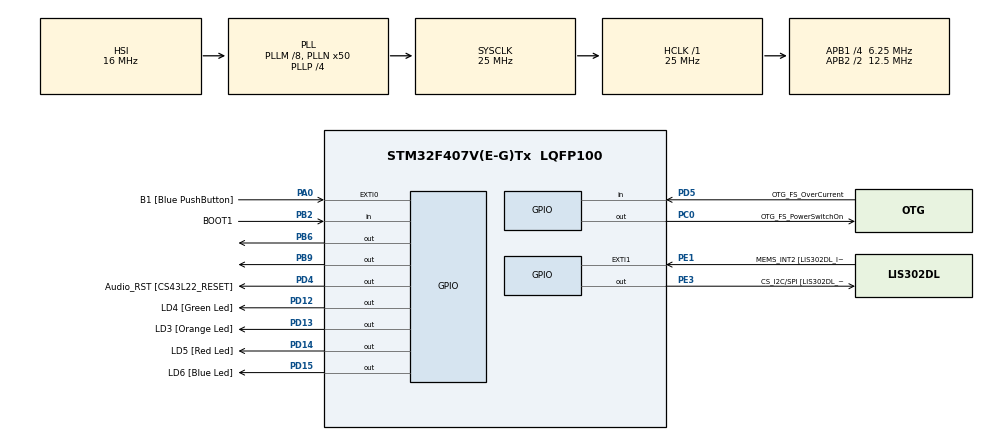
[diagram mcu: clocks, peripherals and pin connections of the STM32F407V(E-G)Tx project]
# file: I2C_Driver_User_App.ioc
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Mcu.Family=STM32F4
Mcu.Name=STM32F407V(E-G)Tx
Mcu.Package=LQFP100
NVIC.PriorityGroup=NVIC_PRIORITYGROUP_4
NVIC.TIM6_DAC_IRQn=true\:0\:0\:false\:false\:true\:false\:true\:true
NVIC.TimeBase=TIM6_DAC_IRQn
NVIC.TimeBaseIP=TIM6
PA0-WKUP.GPIO_Label=B1 [Blue PushButton]
PA0-WKUP.Signal=GPXTI0
PA10.GPIO_Label=OTG_FS_ID
PA10.GPIO_Mode=GPIO_MODE_AF_PP
PA10.GPIO_PuPd=GPIO_NOPULL
PA10.GPIO_Speed=GPIO_SPEED_FREQ_LOW
PA10.Signal=USB_OTG_FS_ID
PA11.GPIO_Label=OTG_FS_DM
PA11.GPIO_Mode=GPIO_MODE_AF_PP
PA11.GPIO_PuPd=GPIO_NOPULL
PA11.GPIO_Speed=GPIO_SPEED_FREQ_LOW
PA11.Signal=USB_OTG_FS_DM
PA12.GPIO_Label=OTG_FS_DP
PA12.GPIO_Mode=GPIO_MODE_AF_PP
PA12.GPIO_PuPd=GPIO_NOPULL
PA12.GPIO_Speed=GPIO_SPEED_FREQ_LOW
PA12.Signal=USB_OTG_FS_DP
PA13.GPIO_Label=SWDIO
PA13.Signal=SYS_JTMS-SWDIO
PA14.GPIO_Label=SWCLK
PA14.Signal=SYS_JTCK-SWCLK
PA4.GPIO_Label=I2S3_WS [CS43L22_LRCK]
PA4.GPIO_Mode=GPIO_MODE_AF_PP
PA4.GPIO_PuPd=GPIO_NOPULL
PA4.GPIO_Speed=GPIO_SPEED_FREQ_LOW
PA4.Signal=I2S3_WS
PA5.GPIO_Label=SPI1_SCK [LIS302DL_SCL/SPC]
PA5.GPIO_Mode=GPIO_MODE_AF_PP
PA5.GPIO_PuPd=GPIO_NOPULL
PA5.GPIO_Speed=GPIO_SPEED_FREQ_LOW
PA5.Signal=SPI1_SCK
PA6.GPIO_Label=SPI1_MISO [LIS302DL_SDO]
PA6.GPIO_Mode=GPIO_MODE_AF_PP
PA6.GPIO_PuPd=GPIO_NOPULL
PA6.GPIO_Speed=GPIO_SPEED_FREQ_LOW
PA6.Signal=SPI1_MISO
PA7.GPIO_Label=SPI1_MOSI [LIS302DL_SDA/SDI/SDO]
PA7.GPIO_Mode=GPIO_MODE_AF_PP
PA7.GPIO_PuPd=GPIO_NOPULL
PA7.GPIO_Speed=GPIO_SPEED_FREQ_LOW
PA7.Signal=SPI1_MOSI
PA9.GPIO_Label=VBUS_FS
PA9.GPIO_Mode=GPIO_MODE_INPUT
PA9.GPIO_PuPd=GPIO_NOPULL
PA9.Signal=USB_OTG_FS_VBUS
PB10.GPIO_Label=CLK_IN [MP45DT02_CLK]
PB10.GPIO_Mode=GPIO_MODE_AF_PP
PB10.GPIO_PuPd=GPIO_NOPULL
PB10.GPIO_Speed=GPIO_SPEED_FREQ_LOW
PB10.Signal=I2S2_CK
PB2.GPIO_Label=BOOT1
PB2.GPIO_Mode=GPIO_MODE_INPUT
PB2.GPIO_PuPd=GPIO_NOPULL
PB2.Signal=GPIO_Input
PB3.GPIO_Label=SWO
PB3.Signal=SYS_JTDO-SWO
PB6.Signal=GPIO_Output
PB9.Signal=GPIO_Output
PC0.GPIO_Label=OTG_FS_PowerSwitchOn
PC0.GPIO_PuPd=GPIO_NOPULL
PC0.GPIO_Speed=GPIO_SPEED_FREQ_LOW
PC0.PinState=GPIO_PIN_SET
PC0.Signal=GPIO_Output
PC10.GPIO_Label=I2S3_SCK [CS43L22_SCLK]
PC10.GPIO_Mode=GPIO_MODE_AF_PP
PC10.GPIO_PuPd=GPIO_NOPULL
PC10.GPIO_Speed=GPIO_SPEED_FREQ_LOW
PC10.Signal=I2S3_CK
PC12.GPIO_Label=I2S3_SD [CS43L22_SDIN]
PC12.GPIO_Mode=GPIO_MODE_AF_PP
PC12.GPIO_PuPd=GPIO_NOPULL
PC12.GPIO_Speed=GPIO_SPEED_FREQ_LOW
PC12.Signal=I2S3_SD
PC14-OSC32_IN.GPIO_Label=PC14-OSC32_IN
PC14-OSC32_IN.Signal=RCC_OSC32_IN
PC15-OSC32_OUT.GPIO_Label=PC15-OSC32_OUT
PC15-OSC32_OUT.Signal=RCC_OSC32_OUT
PC3.GPIO_Label=PDM_OUT [MP45DT02_DOUT]
PC3.GPIO_Mode=GPIO_MODE_AF_PP
PC3.GPIO_PuPd=GPIO_NOPULL
PC3.GPIO_Speed=GPIO_SPEED_FREQ_LOW
PC3.Signal=I2S2_SD
PC7.GPIO_Label=I2S3_MCK [CS43L22_MCLK]
PC7.GPIO_Mode=GPIO_MODE_AF_PP
PC7.GPIO_PuPd=GPIO_NOPULL
PC7.GPIO_Speed=GPIO_SPEED_FREQ_LOW
PC7.Signal=I2S3_MCK
PD12.GPIO_Label=LD4 [Green Led]
PD12.GPIO_PuPd=GPIO_NOPULL
PD12.GPIO_Speed=GPIO_SPEED_FREQ_LOW
PD12.Signal=GPIO_Output
PD13.GPIO_Label=LD3 [Orange Led]
PD13.GPIO_PuPd=GPIO_NOPULL
PD13.GPIO_Speed=GPIO_SPEED_FREQ_LOW
PD13.Signal=GPIO_Output
PD14.GPIO_Label=LD5 [Red Led]
PD14.GPIO_PuPd=GPIO_NOPULL
PD14.GPIO_Speed=GPIO_SPEED_FREQ_LOW
PD14.Signal=GPIO_Output
PD15.GPIO_Label=LD6 [Blue Led]
PD15.GPIO_PuPd=GPIO_NOPULL
PD15.GPIO_Speed=GPIO_SPEED_FREQ_LOW
PD15.Signal=GPIO_Output
PD4.GPIO_Label=Audio_RST [CS43L22_RESET]
PD4.GPIO_PuPd=GPIO_NOPULL
PD4.GPIO_Speed=GPIO_SPEED_FREQ_LOW
PD4.Signal=GPIO_Output
PD5.GPIO_Label=OTG_FS_OverCurrent
PD5.GPIO_Mode=GPIO_MODE_INPUT
PD5.GPIO_PuPd=GPIO_NOPULL
PD5.Signal=GPIO_Input
PE1.GPIO_Label=MEMS_INT2 [LIS302DL_INT2]
PE1.GPIO_ModeDefaultEXTI=GPIO_MODE_EVT_RISING
PE1.GPIO_PuPd=GPIO_NOPULL
PE1.Signal=GPXTI1
PE3.GPIO_Label=CS_I2C/SPI [LIS302DL_CS_I2C/SPI]
PE3.GPIO_PuPd=GPIO_NOPULL
PE3.GPIO_Speed=GPIO_SPEED_FREQ_LOW
PE3.Signal=GPIO_Output
PH0-OSC_IN.GPIO_Label=PH0-OSC_IN
PH0-OSC_IN.Signal=RCC_OSC_IN
PH1-OSC_OUT.GPIO_Label=PH1-OSC_OUT
PH1-OSC_OUT.Signal=RCC_OSC_OUT
ProjectManager.HeapSize=0x200
ProjectManager.StackSize=0x400
ProjectManager.TargetToolchain=STM32CubeIDE
RCC.48MHZClocksFreq_Value=14285714.285714285
RCC.AHBFreq_Value=25000000
RCC.APB1CLKDivider=RCC_HCLK_DIV4
RCC.APB1Freq_Value=6250000
RCC.APB1TimFreq_Value=12500000
RCC.APB2CLKDivider=RCC_HCLK_DIV2
RCC.APB2Freq_Value=12500000
RCC.APB2TimFreq_Value=25000000
RCC.CortexFreq_Value=25000000
RCC.HCLKFreq_Value=25000000
RCC.HSE_VALUE=8000000
RCC.HSI_VALUE=16000000
RCC.LSE_VALUE=32768
RCC.PLLM=8
RCC.PLLN=50
RCC.PLLP=RCC_PLLP_DIV4
RCC.PLLQ=7
RCC.SYSCLKFreq_VALUE=25000000
RCC.SYSCLKSource=RCC_SYSCLKSOURCE_PLLCLK
RCC.VCOOutputFreq_Value=100000000
VP_SYS_VS_tim6.Mode=TIM6
board=STM32F407G-DISC1

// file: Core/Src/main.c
/* USER CODE BEGIN Header */
/**
  ******************************************************************************
  * @file           : main.c
  * @brief          : Main program body
  ******************************************************************************
  * @attention
  *
  * Copyright (c) 2026 STMicroelectronics.
  * All rights reserved.
  *
  * This software is licensed under terms that can be found in the LICENSE file
  * in the root directory of this software component.
  * If no LICENSE file comes with this software, it is provided AS-IS.
  *
  ******************************************************************************
  */
/* USER CODE END Header */
#include "main.h"

/* USER CODE BEGIN Includes */
#include <stdio.h>
#include "FreeRTOS.h"
#include "task.h"
/* USER CODE END Includes */

void SystemClock_Config(void);
static void MX_GPIO_Init(void);
/* USER CODE BEGIN PFP */
static void I2CTask_handler(void *pdData);

static void I2CDelay(void);
static void vStartI2C();
static void vStopI2C();
static uint8_t WriteI2C(uint8_t byte);
static uint8_t ReadI2C1B(uint8_t ack);
static void SetI2CSDAGPIO();
static void ClearI2CSDAGPIO();
static void SetI2CSCLGPIO();
static void ClearI2CSCLGPIO();
static void ConfigI2CSDAGPIOOutput();
static void ConfigI2CSDAGPIOInput();
static void vStopI2C();

/* USER CODE END PFP */

int main(void)
{

  /* USER CODE BEGIN 1 */
	TaskHandle_t Task_Handle;
	BaseType_t status_i2c;

  /* USER CODE END 1 */

  /* MCU Configuration--------------------------------------------------------*/

  /* Reset of all peripherals, Initializes the Flash interface and the Systick. */
  HAL_Init();

  /* Configure the system clock */
  SystemClock_Config();

  /* Initialize all configured peripherals */
  MX_GPIO_Init();
  /* USER CODE BEGIN 2 */
  status_i2c = xTaskCreate(I2CTask_handler, "I2CTask", 200, NULL, 1, &Task_Handle);

  configASSERT(status_i2c  == pdPASS);

  vTaskStartScheduler();

  /* USER CODE END 2 */

  /* Infinite loop */
  while (1)
  {

  }
}

void SystemClock_Config(void)
{
  RCC_OscInitTypeDef RCC_OscInitStruct = {0};
  RCC_ClkInitTypeDef RCC_ClkInitStruct = {0};

  /** Configure the main internal regulator output voltage
  */
  __HAL_RCC_PWR_CLK_ENABLE();
  __HAL_PWR_VOLTAGESCALING_CONFIG(PWR_REGULATOR_VOLTAGE_SCALE1);

  /** Initializes the RCC Oscillators according to the specified parameters
  * in the RCC_OscInitTypeDef structure.
  */
  RCC_OscInitStruct.OscillatorType = RCC_OSCILLATORTYPE_HSI;
  RCC_OscInitStruct.HSIState = RCC_HSI_ON;
  RCC_OscInitStruct.HSICalibrationValue = RCC_HSICALIBRATION_DEFAULT;
  RCC_OscInitStruct.PLL.PLLState = RCC_PLL_ON;
  RCC_OscInitStruct.PLL.PLLSource = RCC_PLLSOURCE_HSI;
  RCC_OscInitStruct.PLL.PLLM = 8;
  RCC_OscInitStruct.PLL.PLLN = 50;
  RCC_OscInitStruct.PLL.PLLP = RCC_PLLP_DIV4;
  RCC_OscInitStruct.PLL.PLLQ = 7;
  if (HAL_RCC_OscConfig(&RCC_OscInitStruct) != HAL_OK)
  {
    Error_Handler();
  }

  /** Initializes the CPU, AHB and APB buses clocks
  */
  RCC_ClkInitStruct.ClockType = RCC_CLOCKTYPE_HCLK|RCC_CLOCKTYPE_SYSCLK
                              |RCC_CLOCKTYPE_PCLK1|RCC_CLOCKTYPE_PCLK2;
  RCC_ClkInitStruct.SYSCLKSource = RCC_SYSCLKSOURCE_PLLCLK;
  RCC_ClkInitStruct.AHBCLKDivider = RCC_SYSCLK_DIV1;
  RCC_ClkInitStruct.APB1CLKDivider = RCC_HCLK_DIV4;
  RCC_ClkInitStruct.APB2CLKDivider = RCC_HCLK_DIV2;

  if (HAL_RCC_ClockConfig(&RCC_ClkInitStruct, FLASH_LATENCY_0) != HAL_OK)
  {
    Error_Handler();
  }
}

static void MX_GPIO_Init(void)
{
  GPIO_InitTypeDef GPIO_InitStruct = {0};

  /* GPIO Ports Clock Enable */
  __HAL_RCC_GPIOE_CLK_ENABLE();
  __HAL_RCC_GPIOC_CLK_ENABLE();
  __HAL_RCC_GPIOH_CLK_ENABLE();
  __HAL_RCC_GPIOA_CLK_ENABLE();
  __HAL_RCC_GPIOB_CLK_ENABLE();
  __HAL_RCC_GPIOD_CLK_ENABLE();

  /*Configure GPIO pin Output Level */
  HAL_GPIO_WritePin(CS_I2C_SPI_GPIO_Port, CS_I2C_SPI_Pin, GPIO_PIN_RESET);

  /*Configure GPIO pin Output Level */
  HAL_GPIO_WritePin(OTG_FS_PowerSwitchOn_GPIO_Port, OTG_FS_PowerSwitchOn_Pin, GPIO_PIN_SET);

  /*Configure GPIO pin Output Level */
  HAL_GPIO_WritePin(GPIOD, LD4_Pin|LD3_Pin|LD5_Pin|LD6_Pin
                          |Audio_RST_Pin, GPIO_PIN_RESET);

  /*Configure GPIO pin Output Level */
  HAL_GPIO_WritePin(GPIOB, GPIO_PIN_6|GPIO_PIN_9, GPIO_PIN_RESET);

  /*Configure GPIO pin : CS_I2C_SPI_Pin */
  GPIO_InitStruct.Pin = CS_I2C_SPI_Pin;
  GPIO_InitStruct.Mode = GPIO_MODE_OUTPUT_PP;
  GPIO_InitStruct.Pull = GPIO_NOPULL;
  GPIO_InitStruct.Speed = GPIO_SPEED_FREQ_LOW;
  HAL_GPIO_Init(CS_I2C_SPI_GPIO_Port, &GPIO_InitStruct);

  /*Configure GPIO pin : OTG_FS_PowerSwitchOn_Pin */
  GPIO_InitStruct.Pin = OTG_FS_PowerSwitchOn_Pin;
  GPIO_InitStruct.Mode = GPIO_MODE_OUTPUT_PP;
  GPIO_InitStruct.Pull = GPIO_NOPULL;
  GPIO_InitStruct.Speed = GPIO_SPEED_FREQ_LOW;
  HAL_GPIO_Init(OTG_FS_PowerSwitchOn_GPIO_Port, &GPIO_InitStruct);

  /*Configure GPIO pin : PDM_OUT_Pin */
  GPIO_InitStruct.Pin = PDM_OUT_Pin;
  GPIO_InitStruct.Mode = GPIO_MODE_AF_PP;
  GPIO_InitStruct.Pull = GPIO_NOPULL;
  GPIO_InitStruct.Speed = GPIO_SPEED_FREQ_LOW;
  GPIO_InitStruct.Alternate = GPIO_AF5_SPI2;
  HAL_GPIO_Init(PDM_OUT_GPIO_Port, &GPIO_InitStruct);

  /*Configure GPIO pin : B1_Pin */
  GPIO_InitStruct.Pin = B1_Pin;
  GPIO_InitStruct.Mode = GPIO_MODE_IT_RISING;
  GPIO_InitStruct.Pull = GPIO_NOPULL;
  HAL_GPIO_Init(B1_GPIO_Port, &GPIO_InitStruct);

  /*Configure GPIO pin : I2S3_WS_Pin */
  GPIO_InitStruct.Pin = I2S3_WS_Pin;
  GPIO_InitStruct.Mode = GPIO_MODE_AF_PP;
  GPIO_InitStruct.Pull = GPIO_NOPULL;
  GPIO_InitStruct.Speed = GPIO_SPEED_FREQ_LOW;
  GPIO_InitStruct.Alternate = GPIO_AF6_SPI3;
  HAL_GPIO_Init(I2S3_WS_GPIO_Port, &GPIO_InitStruct);

  /*Configure GPIO pins : SPI1_SCK_Pin SPI1_MISO_Pin SPI1_MOSI_Pin */
  GPIO_InitStruct.Pin = SPI1_SCK_Pin|SPI1_MISO_Pin|SPI1_MOSI_Pin;
  GPIO_InitStruct.Mode = GPIO_MODE_AF_PP;
  GPIO_InitStruct.Pull = GPIO_NOPULL;
  GPIO_InitStruct.Speed = GPIO_SPEED_FREQ_LOW;
  GPIO_InitStruct.Alternate = GPIO_AF5_SPI1;
  HAL_GPIO_Init(GPIOA, &GPIO_InitStruct);

  /*Configure GPIO pin : BOOT1_Pin */
  GPIO_InitStruct.Pin = BOOT1_Pin;
  GPIO_InitStruct.Mode = GPIO_MODE_INPUT;
  GPIO_InitStruct.Pull = GPIO_NOPULL;
  HAL_GPIO_Init(BOOT1_GPIO_Port, &GPIO_InitStruct);

  /*Configure GPIO pin : CLK_IN_Pin */
  GPIO_InitStruct.Pin = CLK_IN_Pin;
  GPIO_InitStruct.Mode = GPIO_MODE_AF_PP;
  GPIO_InitStruct.Pull = GPIO_NOPULL;
  GPIO_InitStruct.Speed = GPIO_SPEED_FREQ_LOW;
  GPIO_InitStruct.Alternate = GPIO_AF5_SPI2;
  HAL_GPIO_Init(CLK_IN_GPIO_Port, &GPIO_InitStruct);

  /*Configure GPIO pins : LD4_Pin LD3_Pin LD5_Pin LD6_Pin
                           Audio_RST_Pin */
  GPIO_InitStruct.Pin = LD4_Pin|LD3_Pin|LD5_Pin|LD6_Pin
                          |Audio_RST_Pin;
  GPIO_InitStruct.Mode = GPIO_MODE_OUTPUT_PP;
  GPIO_InitStruct.Pull = GPIO_NOPULL;
  GPIO_InitStruct.Speed = GPIO_SPEED_FREQ_LOW;
  HAL_GPIO_Init(GPIOD, &GPIO_InitStruct);

  /*Configure GPIO pins : I2S3_MCK_Pin I2S3_SCK_Pin I2S3_SD_Pin */
  GPIO_InitStruct.Pin = I2S3_MCK_Pin|I2S3_SCK_Pin|I2S3_SD_Pin;
  GPIO_InitStruct.Mode = GPIO_MODE_AF_PP;
  GPIO_InitStruct.Pull = GPIO_NOPULL;
  GPIO_InitStruct.Speed = GPIO_SPEED_FREQ_LOW;
  GPIO_InitStruct.Alternate = GPIO_AF6_SPI3;
  HAL_GPIO_Init(GPIOC, &GPIO_InitStruct);

  /*Configure GPIO pin : VBUS_FS_Pin */
  GPIO_InitStruct.Pin = VBUS_FS_Pin;
  GPIO_InitStruct.Mode = GPIO_MODE_INPUT;
  GPIO_InitStruct.Pull = GPIO_NOPULL;
  HAL_GPIO_Init(VBUS_FS_GPIO_Port, &GPIO_InitStruct);

  /*Configure GPIO pins : OTG_FS_ID_Pin OTG_FS_DM_Pin OTG_FS_DP_Pin */
  GPIO_InitStruct.Pin = OTG_FS_ID_Pin|OTG_FS_DM_Pin|OTG_FS_DP_Pin;
  GPIO_InitStruct.Mode = GPIO_MODE_AF_PP;
  GPIO_InitStruct.Pull = GPIO_NOPULL;
  GPIO_InitStruct.Speed = GPIO_SPEED_FREQ_LOW;
  GPIO_InitStruct.Alternate = GPIO_AF10_OTG_FS;
  HAL_GPIO_Init(GPIOA, &GPIO_InitStruct);

  /*Configure GPIO pin : OTG_FS_OverCurrent_Pin */
  GPIO_InitStruct.Pin = OTG_FS_OverCurrent_Pin;
  GPIO_InitStruct.Mode = GPIO_MODE_INPUT;
  GPIO_InitStruct.Pull = GPIO_NOPULL;
  HAL_GPIO_Init(OTG_FS_OverCurrent_GPIO_Port, &GPIO_InitStruct);

  /*Configure GPIO pins : PB6 PB9 */
  GPIO_InitStruct.Pin = GPIO_PIN_6|GPIO_PIN_9;
  GPIO_InitStruct.Mode = GPIO_MODE_OUTPUT_PP;
  GPIO_InitStruct.Pull = GPIO_NOPULL;
  GPIO_InitStruct.Speed = GPIO_SPEED_FREQ_LOW;
  HAL_GPIO_Init(GPIOB, &GPIO_InitStruct);

  /*Configure GPIO pin : MEMS_INT2_Pin */
  GPIO_InitStruct.Pin = MEMS_INT2_Pin;
  GPIO_InitStruct.Mode = GPIO_MODE_EVT_RISING;
  GPIO_InitStruct.Pull = GPIO_NOPULL;
  HAL_GPIO_Init(MEMS_INT2_GPIO_Port, &GPIO_InitStruct);

}

/* USER CODE BEGIN 4 */
static void ConfigI2CSDAGPIOOutput() {
	GPIO_InitTypeDef GPIO_InitStruct = {0};

	/*Configure GPIO pins : PB6 PB9 */
	  GPIO_InitStruct.Pin = I2C_SDA_PIN;
	  GPIO_InitStruct.Mode = GPIO_MODE_OUTPUT_OD;
	  GPIO_InitStruct.Pull = GPIO_NOPULL;
	  GPIO_InitStruct.Speed = GPIO_SPEED_FREQ_LOW;
	  HAL_GPIO_Init(GPIOB, &GPIO_InitStruct);
	  HAL_GPIO_TogglePin(GPIOD, LED_RED_PIN); // Red led gets toggle when SDA pin changes its state
	  I2CDelay();
}

static void ConfigI2CSDAGPIOInput() {
	GPIO_InitTypeDef GPIO_InitStruct = {0};

	/*Configure GPIO pins : PB6 PB9 */
	  GPIO_InitStruct.Pin = I2C_SDA_PIN;
	  GPIO_InitStruct.Mode = GPIO_MODE_INPUT;
	  GPIO_InitStruct.Pull = GPIO_NOPULL;
	  HAL_GPIO_Init(GPIOB, &GPIO_InitStruct);
	  HAL_GPIO_TogglePin(GPIOD, LED_RED_PIN); // Red led gets toggle when SDA pin changes its state
	  I2CDelay();
}

static void SetI2CSDAGPIO() {
	HAL_GPIO_WritePin(GPIOB, I2C_SDA_PIN, GPIO_PIN_SET);
}

static void ClearI2CSDAGPIO() {
	HAL_GPIO_WritePin(GPIOB, I2C_SDA_PIN, GPIO_PIN_RESET);
}

static void SetI2CSCLGPIO() {
	HAL_GPIO_WritePin(GPIOB, I2C_CLK_PIN, GPIO_PIN_SET);
}

static void ClearI2CSCLGPIO() {
	HAL_GPIO_WritePin(GPIOB, I2C_CLK_PIN, GPIO_PIN_RESET);
}

static uint8_t ReadI2C1B(uint8_t ack) {
	int i = 0;
	uint8_t byte = 0;

	ConfigI2CSDAGPIOOutput();
	I2CDelay();
	SetI2CSDAGPIO();

	ConfigI2CSDAGPIOInput();
//	I2CDelay();

	for(;i<8;i++) {
		byte<<=1;
		SetI2CSCLGPIO();
		I2CDelay();
		if(HAL_GPIO_ReadPin(GPIOB, I2C_SDA_PIN)) {
			byte|=1;
		}

		ClearI2CSCLGPIO();
		I2CDelay();

	}

	ConfigI2CSDAGPIOOutput();
//	I2CDelay();

	if(ack) {
		ClearI2CSDAGPIO();
	} else {
		SetI2CSDAGPIO();
	}
	I2CDelay();

	SetI2CSCLGPIO();
//	HAL_Delay(1);
	I2CDelay();
	ClearI2CSCLGPIO();

	SetI2CSDAGPIO();

	return byte;
}

static uint8_t WriteI2C(uint8_t byte){
	int i = 0;

	ConfigI2CSDAGPIOOutput();
//	I2CDelay();
	for(i=7;i>=0;i--) {
		if((byte>>i) & 1) {
			HAL_GPIO_WritePin(GPIOB, I2C_SDA_PIN, GPIO_PIN_SET);
		} else {
			HAL_GPIO_WritePin(GPIOB, I2C_SDA_PIN, GPIO_PIN_RESET);
		}
		I2CDelay();

		SetI2CSCLGPIO();
		I2CDelay();
		ClearI2CSCLGPIO();
//		I2CDelay();

	}

	SetI2CSDAGPIO();
	I2CDelay();

	SetI2CSCLGPIO();
	I2CDelay();

	ConfigI2CSDAGPIOInput();
//	I2CDelay();

	int ack = HAL_GPIO_ReadPin(GPIOB, I2C_SDA_PIN);
//	ConfigI2CSDAGPIOOutput();
//	I2CDelay();

	ClearI2CSCLGPIO();
	I2CDelay();

	return (ack == 0); //1 - ACK; 0 - NACK
}

static void I2CDelay(void) {
    for (volatile int i = 0; i < 100; i++);
}

static void vStartI2C() {
	ConfigI2CSDAGPIOOutput();

	SetI2CSDAGPIO();
	SetI2CSCLGPIO();
	I2CDelay();

	ClearI2CSDAGPIO();
	I2CDelay();
	ClearI2CSCLGPIO();
}

static void vStopI2C() {

	ConfigI2CSDAGPIOOutput();

//	SetI2CSCLGPIO();

	ClearI2CSDAGPIO();
	I2CDelay();

	SetI2CSCLGPIO();
	I2CDelay();

	SetI2CSDAGPIO();
	I2CDelay();

}

void WriteBytesOnI2C(uint8_t ADDRESS, uint8_t *data, uint8_t NoOfBytes, uint8_t *Status)
{
	uint8_t i = 0;
	vStartI2C();
//	I2CDelay();
	if(WriteI2C(ADDRESS << 1) != 0) // Write mode config
	{
		printf("Write successfully\n");
		//HAL_GPIO_WritePin(GPIOD, LED_ORANGE_PIN, GPIO_PIN_SET);

	} else {
		printf("Write not successfully - Failed\n");
		//HAL_GPIO_WritePin(GPIOD, LED_GREEN_PIN, GPIO_PIN_SET);
		*Status = 1;
		vStopI2C();
//		I2CDelay();
		return;
	}

	while(NoOfBytes > 0)
	{
		if(WriteI2C(data[i++]) != 0) {
			printf("Write successfully\n");
		//	HAL_GPIO_WritePin(GPIOD, LED_ORANGE_PIN, GPIO_PIN_SET);
		} else {
			printf("Write not successfully - Failed\n");
		//	HAL_GPIO_WritePin(GPIOD, LED_GREEN_PIN, GPIO_PIN_SET);
			*Status = 1;
			vStopI2C();
//			I2CDelay();
			return;
		}

		NoOfBytes--;
	}
	vStopI2C();
//	I2CDelay();
}

#define SLAVE_ADDRESS 0x38

static void I2CTask_handler(void *Data) {

	uint8_t rec_data[7] = {0};
	int i=0;

	printf("Hello from I2C task\n");

//	uint8_t data[] = {0xAC, 0x33, 0x00};
//	uint8_t Status = 0;
//	WriteBytesOnI2C(SLAVE_ADDRESS, data, 3, &Status);
//	if(Status == 0)
//	{
//		printf("Write successfully\n");
//		HAL_GPIO_WritePin(GPIOD, LED_ORANGE_PIN, GPIO_PIN_SET);
//	}
//	HAL_Delay(80);

//	uint8_t data1[] = {0xBE, 0x08, 0x00};
//	uint8_t Status1 = 0;
//	WriteBytesOnI2C(SLAVE_ADDRESS, data1, 3, &Status1);
//	if(Status1 == 0)
//	{
//		printf("-----------------------------------Write successfully\n");
//		HAL_GPIO_WritePin(GPIOD, LED_ORANGE_PIN, GPIO_PIN_SET);
//	}
//	HAL_Delay(80);

	uint8_t data[] = {0xAC, 0x33, 0x00}; // Writing Measurment Command
	uint8_t Status = 0;
	WriteBytesOnI2C(SLAVE_ADDRESS, data, 3, &Status);
	if(Status == 0)
	{
		printf("-----------------------------------Write successfully\n");
		HAL_GPIO_WritePin(GPIOD, LED_ORANGE_PIN, GPIO_PIN_SET);
	}
	HAL_Delay(80);

	while(1) {
		HAL_Delay(80);

		//Read Data
		vStartI2C();
		printf("Write address: %x\n", ((0x38 << 1) | 1)); // Read mode config

		if(WriteI2C((0x38 << 1) | 1) != 0) {
//			printf("Write successfully\n");
			HAL_GPIO_WritePin(GPIOD, LED_ORANGE_PIN, GPIO_PIN_SET);
		} else {
//			printf("Read ACK  not successfully - Failed\n");
			HAL_GPIO_WritePin(GPIOD, LED_GREEN_PIN, GPIO_PIN_SET);
		}

//		HAL_Delay(80);
		for(i=0; i<5; i++)
		{
			rec_data[i] = ReadI2C1B(1);
//			if((rec_data[0]>>7) & 1) {
//				HAL_Delay(80);
//				i = -1;
//				continue;
//			}
//			printf("-------Recv data[%d]: %d\n", i, rec_data[i]);
//			HAL_Delay(80);
		}
//		printf("Reading index out of for loop: %d\n", i);
		rec_data[i] = ReadI2C1B(0);
//		printf("*********Recv data[%d]: %d\n", i, rec_data[i]);
//		I2CDelay();

		vStopI2C();

		printf("Recv data\n");
		for(i=0; i<7; i++) {
			printf("%x\t", rec_data[i]);
		}printf("\n");

		// Convert Humidity (20-bit)
		uint32_t raw_hum = (rec_data[1] << 12) | (rec_data[2] << 4) | (rec_data[3] >> 4);
		// Convert Temperature (20-bit)
		uint32_t raw_temp =  (((rec_data[3] & 0x0F) << 16) | (rec_data[4] << 8) | rec_data[5]);

		printf("Raw HumidityValue is : %ld \n", raw_hum);
		printf("Raw Temperature Value is : %ld \n", raw_temp);

		float humidity = (float)(raw_hum / 1048576.0f) * 100.0f;
		float temperature = (float)(raw_temp / 1048576.0f) * 200.0f - 50.0f;

		printf("HumidityValue is : %f %%\n", humidity);
		printf("Temperature Value is : %f C\n", temperature);

		vTaskDelay(pdMS_TO_TICKS(5000));
		printf("********************************************\n");

	}

	vTaskDelete(NULL);
}

/* USER CODE END 4 */

void HAL_TIM_PeriodElapsedCallback(TIM_HandleTypeDef *htim)
{
  if (htim->Instance == TIM6)
  {
    HAL_IncTick();
  }
}

void Error_Handler(void)
{
  __disable_irq();
  while (1)
  {
  }
}
